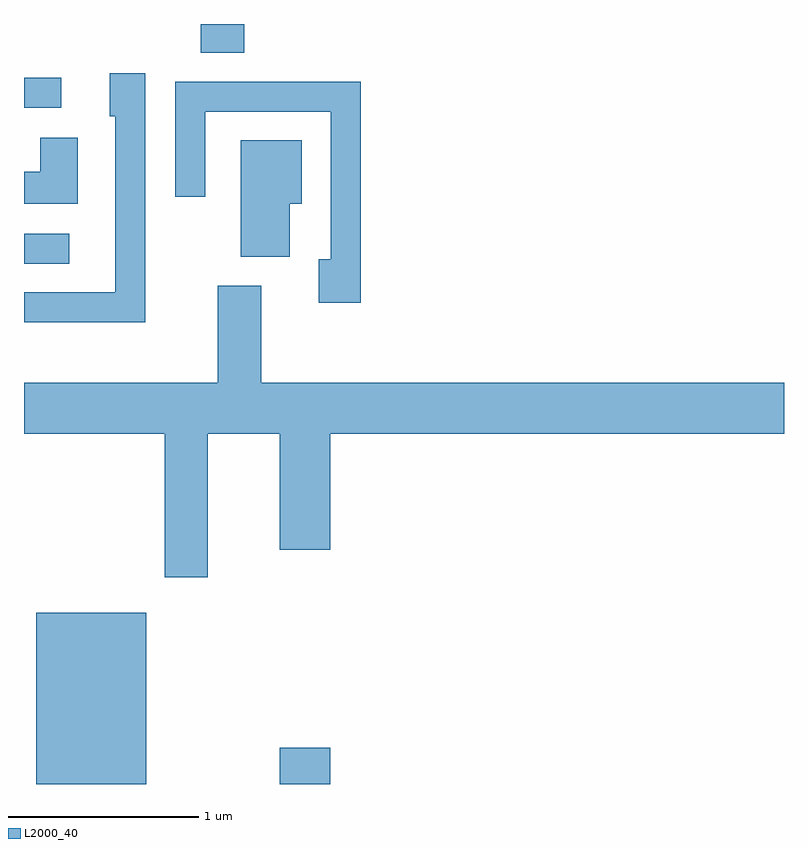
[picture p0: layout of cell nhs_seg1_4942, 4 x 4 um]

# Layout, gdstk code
import gdstk
lib = gdstk.Library(unit=1e-6, precision=1e-09)
def R(c, l, rs):  # rectangles x0, y0, x1, y1
    for r in rs: c.add(gdstk.rectangle(r[:2], r[2:], *l))
def P(c, l, *ps):  # polygons
    for p in ps: c.add(gdstk.Polygon(p, *l))
L2000_40 = (2000, 40)

nhs_seg1_4942 = lib.new_cell('nhs_seg1_4942')
R(nhs_seg1_4942, L2000_40, [(333.676,917.712,334.254,918.614), (334.956,917.712,335.224,917.904), (333.611,920.451,333.848,920.609), (333.611,921.271,333.808,921.429), (334.541,921.561,334.769,921.712)])
P(nhs_seg1_4942, L2000_40, [(334.249,921.454),(334.061,921.454),(334.061,921.226),(334.091,921.226),(334.091,920.299),(333.611,920.299),(333.611,920.141),(334.249,920.141)],
  [(335.384,921.409),(334.406,921.409),(334.406,920.803),(334.564,920.803),(334.564,921.251),(335.226,921.251),(335.226,920.474),(335.161,920.474),(335.161,920.246),(335.384,920.246)],
  [(333.894,921.114),(333.696,921.114),(333.696,920.934),(333.611,920.934),(333.611,920.766),(333.894,920.766)],
  [(335.009,920.766),(335.074,920.766),(335.074,921.099),(334.751,921.099),(334.751,920.486),(335.009,920.486)],
  [(334.579,919.556),(334.956,919.556),(334.956,918.946),(335.224,918.946),(335.224,919.556),(337.611,919.556),(337.611,919.824),(334.859,919.824),(334.859,920.334),(334.631,920.334),(334.631,919.824),(333.611,919.824),(333.611,919.556),(334.351,919.556),(334.351,918.801),(334.579,918.801)])

lib.write_gds('nhs_seg1_4942.gds')
